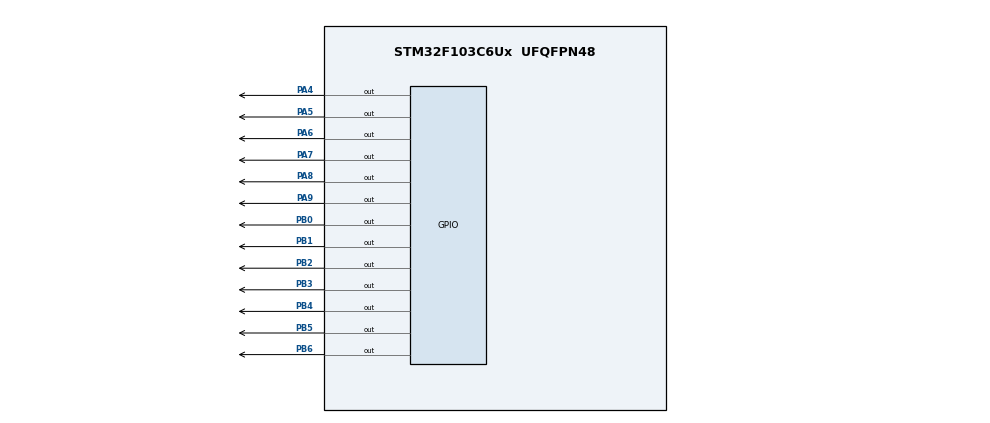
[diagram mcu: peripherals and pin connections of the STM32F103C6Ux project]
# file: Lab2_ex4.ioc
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Mcu.Family=STM32F1
Mcu.Name=STM32F103C6Ux
Mcu.Package=UFQFPN48
NVIC.PriorityGroup=NVIC_PRIORITYGROUP_4
NVIC.TIM2_IRQn=true\:0\:0\:false\:false\:true\:true\:true
PA4.Signal=GPIO_Output
PA5.Signal=GPIO_Output
PA6.Signal=GPIO_Output
PA7.Signal=GPIO_Output
PA8.Signal=GPIO_Output
PA9.Signal=GPIO_Output
PB0.Signal=GPIO_Output
PB1.Signal=GPIO_Output
PB2.Signal=GPIO_Output
PB3.Signal=GPIO_Output
PB4.Signal=GPIO_Output
PB5.Signal=GPIO_Output
PB6.Signal=GPIO_Output
ProjectManager.HeapSize=0x200
ProjectManager.StackSize=0x400
ProjectManager.TargetToolchain=STM32CubeIDE
RCC.APB1Freq_Value=8000000
RCC.APB2Freq_Value=8000000
TIM2.Period=249
TIM2.Prescaler=7999
VP_SYS_VS_ND.Mode=No_Debug
VP_TIM2_VS_ClockSourceINT.Mode=Internal
board=custom

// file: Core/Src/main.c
/* USER CODE BEGIN Header */
/**
  ******************************************************************************
  * @file           : main.c
  * @brief          : Main program body
  ******************************************************************************
  * @attention
  *
  * <h2><center>&copy; Copyright (c) 2025 STMicroelectronics.
  * All rights reserved.</center></h2>
  *
  * This software component is licensed by ST under BSD 3-Clause license,
  * the "License"; You may not use this file except in compliance with the
  * License. You may obtain a copy of the License at:
  *                        opensource.org/licenses/BSD-3-Clause
  *
  ******************************************************************************
  */
/* USER CODE END Header */
#include "main.h"

TIM_HandleTypeDef htim2;

void SystemClock_Config(void);
static void MX_GPIO_Init(void);
static void MX_TIM2_Init(void);

/* USER CODE BEGIN 0 */
void display7SEG(uint8_t num){
	if (num > 9) return;
	switch (num)
	{
	case 0:
		HAL_GPIO_WritePin(GPIOB, GPIO_PIN_0, GPIO_PIN_RESET);
		HAL_GPIO_WritePin(GPIOB, GPIO_PIN_1, GPIO_PIN_RESET);
		HAL_GPIO_WritePin(GPIOB, GPIO_PIN_2, GPIO_PIN_RESET);
		HAL_GPIO_WritePin(GPIOB, GPIO_PIN_3, GPIO_PIN_RESET);
		HAL_GPIO_WritePin(GPIOB, GPIO_PIN_4, GPIO_PIN_RESET);
		HAL_GPIO_WritePin(GPIOB, GPIO_PIN_5, GPIO_PIN_RESET);
		HAL_GPIO_WritePin(GPIOB, GPIO_PIN_6, GPIO_PIN_SET);
		break;
	case 1:
		HAL_GPIO_WritePin(GPIOB, GPIO_PIN_0, GPIO_PIN_SET);
		HAL_GPIO_WritePin(GPIOB, GPIO_PIN_1, GPIO_PIN_RESET);
		HAL_GPIO_WritePin(GPIOB, GPIO_PIN_2, GPIO_PIN_RESET);
		HAL_GPIO_WritePin(GPIOB, GPIO_PIN_3, GPIO_PIN_SET);
		HAL_GPIO_WritePin(GPIOB, GPIO_PIN_4, GPIO_PIN_SET);
		HAL_GPIO_WritePin(GPIOB, GPIO_PIN_5, GPIO_PIN_SET);
		HAL_GPIO_WritePin(GPIOB, GPIO_PIN_6, GPIO_PIN_SET);
		break;
	case 2:
		HAL_GPIO_WritePin(GPIOB, GPIO_PIN_0, GPIO_PIN_RESET);
		HAL_GPIO_WritePin(GPIOB, GPIO_PIN_1, GPIO_PIN_RESET);
		HAL_GPIO_WritePin(GPIOB, GPIO_PIN_2, GPIO_PIN_SET);
		HAL_GPIO_WritePin(GPIOB, GPIO_PIN_3, GPIO_PIN_RESET);
		HAL_GPIO_WritePin(GPIOB, GPIO_PIN_4, GPIO_PIN_RESET);
		HAL_GPIO_WritePin(GPIOB, GPIO_PIN_5, GPIO_PIN_SET);
		HAL_GPIO_WritePin(GPIOB, GPIO_PIN_6, GPIO_PIN_RESET);
		break;
	case 3:
		HAL_GPIO_WritePin(GPIOB, GPIO_PIN_0, GPIO_PIN_RESET);
		HAL_GPIO_WritePin(GPIOB, GPIO_PIN_1, GPIO_PIN_RESET);
		HAL_GPIO_WritePin(GPIOB, GPIO_PIN_2, GPIO_PIN_RESET);
		HAL_GPIO_WritePin(GPIOB, GPIO_PIN_3, GPIO_PIN_RESET);
		HAL_GPIO_WritePin(GPIOB, GPIO_PIN_4, GPIO_PIN_SET);
		HAL_GPIO_WritePin(GPIOB, GPIO_PIN_5, GPIO_PIN_SET);
		HAL_GPIO_WritePin(GPIOB, GPIO_PIN_6, GPIO_PIN_RESET);
		break;
	case 4:
        HAL_GPIO_WritePin(GPIOB, GPIO_PIN_0, GPIO_PIN_SET);
        HAL_GPIO_WritePin(GPIOB, GPIO_PIN_1, GPIO_PIN_RESET);
        HAL_GPIO_WritePin(GPIOB, GPIO_PIN_2, GPIO_PIN_RESET);
        HAL_GPIO_WritePin(GPIOB, GPIO_PIN_3, GPIO_PIN_SET);
        HAL_GPIO_WritePin(GPIOB, GPIO_PIN_4, GPIO_PIN_SET);
        HAL_GPIO_WritePin(GPIOB, GPIO_PIN_5, GPIO_PIN_RESET);
        HAL_GPIO_WritePin(GPIOB, GPIO_PIN_6, GPIO_PIN_RESET);
        break;
	case 5:
		HAL_GPIO_WritePin(GPIOB, GPIO_PIN_0, GPIO_PIN_RESET);
		HAL_GPIO_WritePin(GPIOB, GPIO_PIN_1, GPIO_PIN_SET);
		HAL_GPIO_WritePin(GPIOB, GPIO_PIN_2, GPIO_PIN_RESET);
		HAL_GPIO_WritePin(GPIOB, GPIO_PIN_3, GPIO_PIN_RESET);
		HAL_GPIO_WritePin(GPIOB, GPIO_PIN_4, GPIO_PIN_SET);
		HAL_GPIO_WritePin(GPIOB, GPIO_PIN_5, GPIO_PIN_RESET);
		HAL_GPIO_WritePin(GPIOB, GPIO_PIN_6, GPIO_PIN_RESET);
		break;
	case 6:
		HAL_GPIO_WritePin(GPIOB, GPIO_PIN_0, GPIO_PIN_RESET);
		HAL_GPIO_WritePin(GPIOB, GPIO_PIN_1, GPIO_PIN_SET);
		HAL_GPIO_WritePin(GPIOB, GPIO_PIN_2, GPIO_PIN_RESET);
		HAL_GPIO_WritePin(GPIOB, GPIO_PIN_3, GPIO_PIN_RESET);
		HAL_GPIO_WritePin(GPIOB, GPIO_PIN_4, GPIO_PIN_RESET);
		HAL_GPIO_WritePin(GPIOB, GPIO_PIN_5, GPIO_PIN_RESET);
		HAL_GPIO_WritePin(GPIOB, GPIO_PIN_6, GPIO_PIN_RESET);
		break;
	case 7:
		HAL_GPIO_WritePin(GPIOB, GPIO_PIN_0, GPIO_PIN_RESET);
		HAL_GPIO_WritePin(GPIOB, GPIO_PIN_1, GPIO_PIN_RESET);
		HAL_GPIO_WritePin(GPIOB, GPIO_PIN_2, GPIO_PIN_RESET);
		HAL_GPIO_WritePin(GPIOB, GPIO_PIN_3, GPIO_PIN_SET);
		HAL_GPIO_WritePin(GPIOB, GPIO_PIN_4, GPIO_PIN_SET);
		HAL_GPIO_WritePin(GPIOB, GPIO_PIN_5, GPIO_PIN_SET);
		HAL_GPIO_WritePin(GPIOB, GPIO_PIN_6, GPIO_PIN_SET);
		break;
	case 8:
		HAL_GPIO_WritePin(GPIOB, GPIO_PIN_0, GPIO_PIN_RESET);
		HAL_GPIO_WritePin(GPIOB, GPIO_PIN_1, GPIO_PIN_RESET);
		HAL_GPIO_WritePin(GPIOB, GPIO_PIN_2, GPIO_PIN_RESET);
		HAL_GPIO_WritePin(GPIOB, GPIO_PIN_3, GPIO_PIN_RESET);
		HAL_GPIO_WritePin(GPIOB, GPIO_PIN_4, GPIO_PIN_RESET);
		HAL_GPIO_WritePin(GPIOB, GPIO_PIN_5, GPIO_PIN_RESET);
		HAL_GPIO_WritePin(GPIOB, GPIO_PIN_6, GPIO_PIN_RESET);
		break;
	case 9:
		HAL_GPIO_WritePin(GPIOB, GPIO_PIN_0, GPIO_PIN_RESET);
		HAL_GPIO_WritePin(GPIOB, GPIO_PIN_1, GPIO_PIN_RESET);
		HAL_GPIO_WritePin(GPIOB, GPIO_PIN_2, GPIO_PIN_RESET);
		HAL_GPIO_WritePin(GPIOB, GPIO_PIN_3, GPIO_PIN_RESET);
		HAL_GPIO_WritePin(GPIOB, GPIO_PIN_4, GPIO_PIN_SET);
		HAL_GPIO_WritePin(GPIOB, GPIO_PIN_5, GPIO_PIN_RESET);
		HAL_GPIO_WritePin(GPIOB, GPIO_PIN_6, GPIO_PIN_RESET);
		break;
	default:
		HAL_GPIO_WritePin(GPIOB, GPIO_PIN_0, GPIO_PIN_SET);
		HAL_GPIO_WritePin(GPIOB, GPIO_PIN_1, GPIO_PIN_SET);
		HAL_GPIO_WritePin(GPIOB, GPIO_PIN_2, GPIO_PIN_SET);
		HAL_GPIO_WritePin(GPIOB, GPIO_PIN_3, GPIO_PIN_SET);
		HAL_GPIO_WritePin(GPIOB, GPIO_PIN_4, GPIO_PIN_SET);
		HAL_GPIO_WritePin(GPIOB, GPIO_PIN_5, GPIO_PIN_SET);
		HAL_GPIO_WritePin(GPIOB, GPIO_PIN_6, GPIO_PIN_SET);
		break;
	}
}

const int MAX_LED = 4;
int index_led = 0;
int led_buffer[4] = {1, 2, 3, 4};
uint8_t dot_counter = 0;
uint8_t led_counter = 0;
uint8_t seg_counter = 0;
uint16_t seg_update_rate = 1;

void Led_frequency(uint16_t freq) {
    if (freq == 0) return;
    // Mỗi LED cần quét 1 lần → tổng 4 lần
    // Với ngắt TIM2 = 1ms → 1000Hz
    seg_update_rate = 1000 / freq ;
    if (seg_update_rate < 1) seg_update_rate = 1;
}

void update7SEG(int index) {
	HAL_GPIO_WritePin(GPIOA, GPIO_PIN_6|GPIO_PIN_7|GPIO_PIN_8|GPIO_PIN_9, GPIO_PIN_SET);

	display7SEG(led_buffer[index]);

	switch(index){
		case 0: HAL_GPIO_WritePin(GPIOA, GPIO_PIN_6, GPIO_PIN_RESET); break;
		case 1: HAL_GPIO_WritePin(GPIOA, GPIO_PIN_7, GPIO_PIN_RESET); break;
		case 2: HAL_GPIO_WritePin(GPIOA, GPIO_PIN_8, GPIO_PIN_RESET); break;
		case 3: HAL_GPIO_WritePin(GPIOA, GPIO_PIN_9, GPIO_PIN_RESET); break;

	}
}

void HAL_TIM_PeriodElapsedCallback(TIM_HandleTypeDef *htim) {
	if (htim->Instance == TIM2) {
		led_counter++;
		if (led_counter >= 2) {
			led_counter = 0;
			HAL_GPIO_TogglePin(GPIOA, GPIO_PIN_5);
		}

		seg_counter++;
		if (seg_counter >= seg_update_rate) {
			seg_counter = 0;
			update7SEG(index_led);
			index_led++;
			if (index_led >= MAX_LED) index_led = 0;
		}

		dot_counter++;
		if (dot_counter >= 4) {
			dot_counter = 0;
			HAL_GPIO_TogglePin(GPIOA, GPIO_PIN_4);
		}
	}
}

/* USER CODE END 0 */

int main(void)
{

  /* MCU Configuration--------------------------------------------------------*/

  /* Reset of all peripherals, Initializes the Flash interface and the Systick. */
  HAL_Init();

  /* Configure the system clock */
  SystemClock_Config();

  /* Initialize all configured peripherals */
  MX_GPIO_Init();
  MX_TIM2_Init();
  /* USER CODE BEGIN 2 */
  HAL_TIM_Base_Start_IT(&htim2);
  Led_frequency(1000);
  /* USER CODE END 2 */

  /* Infinite loop */
  while (1)
  {

  }
}

void SystemClock_Config(void)
{
  RCC_OscInitTypeDef RCC_OscInitStruct = {0};
  RCC_ClkInitTypeDef RCC_ClkInitStruct = {0};

  /** Initializes the RCC Oscillators according to the specified parameters
  * in the RCC_OscInitTypeDef structure.
  */
  RCC_OscInitStruct.OscillatorType = RCC_OSCILLATORTYPE_HSI;
  RCC_OscInitStruct.HSIState = RCC_HSI_ON;
  RCC_OscInitStruct.HSICalibrationValue = RCC_HSICALIBRATION_DEFAULT;
  RCC_OscInitStruct.PLL.PLLState = RCC_PLL_NONE;
  if (HAL_RCC_OscConfig(&RCC_OscInitStruct) != HAL_OK)
  {
    Error_Handler();
  }
  /** Initializes the CPU, AHB and APB buses clocks
  */
  RCC_ClkInitStruct.ClockType = RCC_CLOCKTYPE_HCLK|RCC_CLOCKTYPE_SYSCLK
                              |RCC_CLOCKTYPE_PCLK1|RCC_CLOCKTYPE_PCLK2;
  RCC_ClkInitStruct.SYSCLKSource = RCC_SYSCLKSOURCE_HSI;
  RCC_ClkInitStruct.AHBCLKDivider = RCC_SYSCLK_DIV1;
  RCC_ClkInitStruct.APB1CLKDivider = RCC_HCLK_DIV1;
  RCC_ClkInitStruct.APB2CLKDivider = RCC_HCLK_DIV1;

  if (HAL_RCC_ClockConfig(&RCC_ClkInitStruct, FLASH_LATENCY_0) != HAL_OK)
  {
    Error_Handler();
  }
}

static void MX_TIM2_Init(void)
{

  TIM_ClockConfigTypeDef sClockSourceConfig = {0};
  TIM_MasterConfigTypeDef sMasterConfig = {0};

  htim2.Instance = TIM2;
  htim2.Init.Prescaler = 7999;
  htim2.Init.CounterMode = TIM_COUNTERMODE_UP;
  htim2.Init.Period = 249;
  htim2.Init.ClockDivision = TIM_CLOCKDIVISION_DIV1;
  htim2.Init.AutoReloadPreload = TIM_AUTORELOAD_PRELOAD_DISABLE;
  if (HAL_TIM_Base_Init(&htim2) != HAL_OK)
  {
    Error_Handler();
  }
  sClockSourceConfig.ClockSource = TIM_CLOCKSOURCE_INTERNAL;
  if (HAL_TIM_ConfigClockSource(&htim2, &sClockSourceConfig) != HAL_OK)
  {
    Error_Handler();
  }
  sMasterConfig.MasterOutputTrigger = TIM_TRGO_RESET;
  sMasterConfig.MasterSlaveMode = TIM_MASTERSLAVEMODE_DISABLE;
  if (HAL_TIMEx_MasterConfigSynchronization(&htim2, &sMasterConfig) != HAL_OK)
  {
    Error_Handler();
  }

}

static void MX_GPIO_Init(void)
{
  GPIO_InitTypeDef GPIO_InitStruct = {0};

  /* GPIO Ports Clock Enable */
  __HAL_RCC_GPIOA_CLK_ENABLE();
  __HAL_RCC_GPIOB_CLK_ENABLE();

  /*Configure GPIO pin Output Level */
  HAL_GPIO_WritePin(GPIOA, GPIO_PIN_4|GPIO_PIN_5|GPIO_PIN_6|GPIO_PIN_7
                          |GPIO_PIN_8|GPIO_PIN_9, GPIO_PIN_SET);

  /*Configure GPIO pin Output Level */
  HAL_GPIO_WritePin(GPIOB, GPIO_PIN_0|GPIO_PIN_1|GPIO_PIN_2|GPIO_PIN_3
                          |GPIO_PIN_4|GPIO_PIN_5|GPIO_PIN_6, GPIO_PIN_SET);

  /*Configure GPIO pins : PA4 PA5 PA6 PA7
                           PA8 PA9 */
  GPIO_InitStruct.Pin = GPIO_PIN_4|GPIO_PIN_5|GPIO_PIN_6|GPIO_PIN_7
                          |GPIO_PIN_8|GPIO_PIN_9;
  GPIO_InitStruct.Mode = GPIO_MODE_OUTPUT_PP;
  GPIO_InitStruct.Pull = GPIO_NOPULL;
  GPIO_InitStruct.Speed = GPIO_SPEED_FREQ_LOW;
  HAL_GPIO_Init(GPIOA, &GPIO_InitStruct);

  /*Configure GPIO pins : PB0 PB1 PB2 PB3
                           PB4 PB5 PB6 */
  GPIO_InitStruct.Pin = GPIO_PIN_0|GPIO_PIN_1|GPIO_PIN_2|GPIO_PIN_3
                          |GPIO_PIN_4|GPIO_PIN_5|GPIO_PIN_6;
  GPIO_InitStruct.Mode = GPIO_MODE_OUTPUT_PP;
  GPIO_InitStruct.Pull = GPIO_NOPULL;
  GPIO_InitStruct.Speed = GPIO_SPEED_FREQ_LOW;
  HAL_GPIO_Init(GPIOB, &GPIO_InitStruct);

}

void Error_Handler(void)
{
  __disable_irq();
  while (1)
  {
  }
}

/************************ (C) COPYRIGHT STMicroelectronics *****END OF FILE****/
